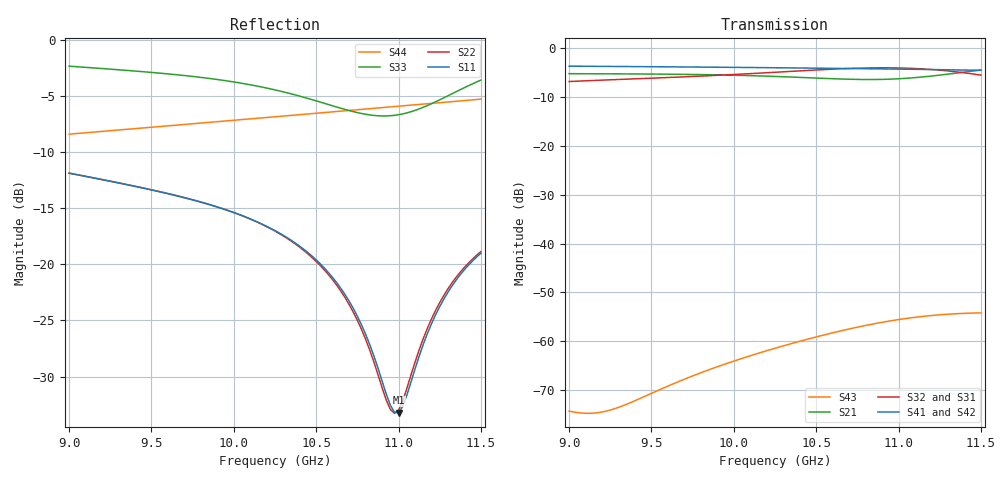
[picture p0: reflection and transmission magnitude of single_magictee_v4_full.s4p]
! Generated from PyAEDT SolutionData; AEDT ExportNetworkData workaround
# GHz S MA R 50
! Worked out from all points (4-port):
!   101 points, 9 GHz to 11.5 GHz, reference 50 ohm
!   strongest paths, dB at 9 GHz, 9.625 GHz, 10.25 GHz, 10.88 GHz, 11.5 GHz:
!     S41: -3.7, -3.8, -4.0, -4.2, -4.5
!     S42: -3.7, -3.8, -4.0, -4.3, -4.6
!     S32: -6.8, -6.0, -4.9, -4.0, -5.5
!     S31: -6.8, -6.0, -5.0, -4.1, -5.5
!     S21: -5.2, -5.3, -5.8, -6.4, -4.5
!     S43: -74.3, -68.8, -61.4, -56.3, -54.2
!   lowest |S11| = -33.2 dB at 11 GHz (marker M1), VSWR 1.04, Z = 48.1 + j0.902 ohm
!   |S11| at or under -10 dB: start of sweep to end of sweep
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9  0.2551 147.0  0.5478 -174.9  0.4551 -88.0  0.6539 47.0
   0.5478 -174.9  0.2551 147.2  0.4554 -88.0  0.6537 -132.9
   0.4551 -88.0  0.4554 -88.0  0.7651 -169.2  0.000193 -1.2
   0.6539 47.0  0.6537 -132.9  0.000193 -1.2  0.3808 -115.4
9.45  0.2187 93.3  0.5437 134.8  0.4884 -166.3  0.6465 -4.2
      0.5437 134.8  0.2192 93.7  0.489 -166.3  0.6459 175.9
      0.4884 -166.3  0.489 -166.3  0.7227 84.2  0.0002689 -38.2
      0.6465 -4.2  0.6459 175.9  0.0002689 -38.2  0.4059 -164.0
9.775  0.1916 53.8  0.537 99.6  0.5146 138.2  0.6404 -39.9
       0.537 99.6  0.192 54.4  0.5154 138.2  0.6396 140.1
       0.5146 138.2  0.5154 138.2  0.6853 8.4  0.0004591 -92.5
       0.6404 -39.9  0.6396 140.1  0.0004591 -92.5  0.4252 161.8
10.1  0.1595 12.3  0.523 65.6  0.5475 82.8  0.6335 -74.9
      0.523 65.6  0.1593 13.1  0.5485 82.8  0.6326 105.2
      0.5475 82.8  0.5485 82.8  0.632 -68.4  0.0007113 -158.0
      0.6335 -74.9  0.6326 105.2  0.0007113 -158.0  0.4455 128.1
10.525  0.1006 -49.4  0.4922 24.5  0.5993 8.3  0.6233 -119.6
        0.4922 24.5  0.09882 -48.6  0.6006 8.2  0.6223 60.4
        0.5993 8.3  0.6006 8.2  0.5292 -177.7  0.001136 108.6
        0.6233 -119.6  0.6223 60.4  0.001136 108.6  0.4736 84.6
11  0.0218 154.5  0.486 -13.2  0.6254 -80.9  0.6101 -168.7
    0.486 -13.2  0.0224 147.8  0.6267 -81.0  0.6087 11.4
    0.6254 -80.9  0.6267 -81.0  0.4648 30.5  0.001669 -3.6
    0.6101 -168.7  0.6087 11.4  0.001669 -3.6  0.5073 36.5
11.5  0.1121 2.5  0.5966 -55.2  0.5286 -177.7  0.5933 140.2
      0.5966 -55.2  0.114 3.4  0.5298 -177.8  0.5919 -39.6
      0.5286 -177.7  0.5298 -177.8  0.6632 -128.6  0.001954 -123.8
      0.5933 140.2  0.5919 -39.6  0.001954 -123.8  0.5455 -14.0
